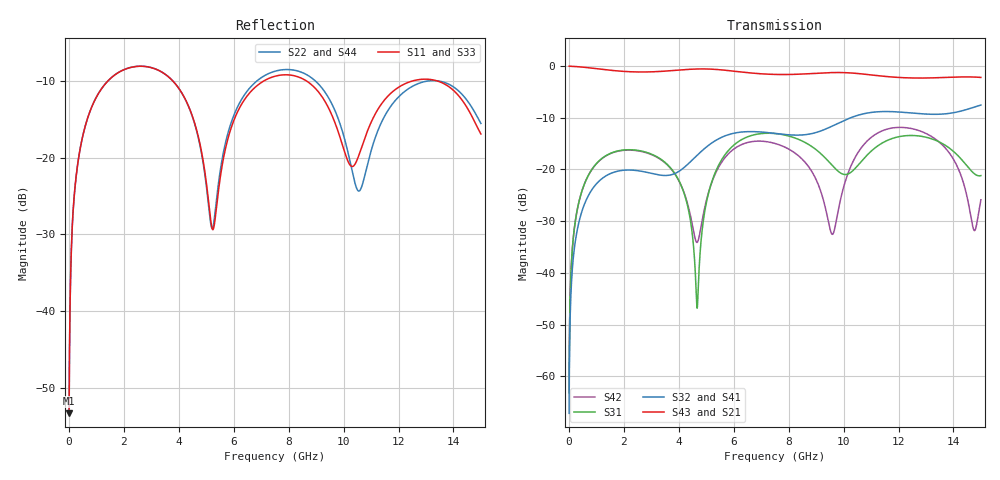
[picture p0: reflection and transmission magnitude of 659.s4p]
! Created with skrf 1.8.0 (http://scikit-rf.org).
# GHz S RI R 50.0
!freq ReS11 ImS11 ReS12 ImS12 ReS13 ImS13
! ReS14 ImS14
! ReS21 ImS21 ReS22 ImS22 ReS23 ImS23
! ReS24 ImS24
! ReS31 ImS31 ReS32 ImS32 ReS33 ImS33
! ReS34 ImS34
! ReS41 ImS41 ReS42 ImS42 ReS43 ImS43
! ReS44 ImS44
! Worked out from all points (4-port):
!   2499 points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, 5 MHz to 15 GHz, reference 50 ohm
!   strongest paths, dB at 5 MHz, 3.476 GHz, 7.19 GHz, 11.1 GHz, 15 GHz:
!     S43: 0.0, -1.0, -1.6, -1.8, -2.2
!     S21: 0.0, -1.0, -1.6, -1.8, -2.2
!     S32: -67.2, -21.2, -12.8, -8.9, -7.5
!     S41: -67.2, -21.2, -12.9, -8.9, -7.5
!     S31: -63.2, -18.5, -13.0, -16.0, -21.2
!     S42: -63.2, -18.6, -14.6, -13.4, -25.9
!   lowest |S11| = -53.3 dB at 5 MHz (marker M1), VSWR 1.00, Z = 50.2 + j0.131 ohm
!   |S11| at or under -10 dB: 3.778 GHz to 7.101 GHz (3.324 GHz wide, 61.1 % of centre); 8.643 GHz to 12.52 GHz (3.881 GHz wide, 36.7 % of centre); 13.4 GHz to end of sweep (the widest 3 of 4)
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0.005  0.00172 0.00131  0.9982 -0.00334  8.67e-05 0.000686  -8.42e-05 -0.00043
       0.9982 -0.00334  0.00172 0.00131  -8.42e-05 -0.00043  8.67e-05 0.000686
       8.67e-05 0.000686  -8.42e-05 -0.00043  0.00172 0.00131  0.9982 -0.00334
       -8.42e-05 -0.00043  8.67e-05 0.000686  0.9982 -0.00334  0.00172 0.00131
0.3126303  0.026 0.0855  0.9644 -0.2077  0.0122 0.0405  -0.01 -0.025
           0.9644 -0.2077  0.026 0.0855  -0.0101 -0.025  0.012 0.0405
           0.0122 0.0405  -0.0101 -0.025  0.026 0.0855  0.9644 -0.2077
           -0.01 -0.025  0.012 0.0405  0.9644 -0.2077  0.026 0.0855
1.569404  0.2878 0.1709  0.5092 -0.7519  0.1349 0.0541  -0.0926 0.000298
          0.5092 -0.7519  0.2886 0.1703  -0.0927 0.000373  0.1328 0.0572
          0.1349 0.0541  -0.0927 0.000373  0.2877 0.1709  0.5092 -0.7519
          -0.0926 0.000298  0.1328 0.0572  0.5092 -0.7519  0.2885 0.1703
4.664444  0.0755 -0.1266  -0.8553 -0.3834  -0.00444 -0.00102  -0.0527 0.1264
          -0.8553 -0.3834  0.0742 -0.1249  -0.0518 0.1268  -0.0189 -0.00569
          -0.00444 -0.00102  -0.0518 0.1268  0.0758 -0.1252  -0.8555 -0.3833
          -0.0527 0.1264  -0.0189 -0.00569  -0.8555 -0.3833  0.0729 -0.1242
8.059608  0.3444 -0.0189  -0.016 0.8296  0.1579 -0.1361  0.206 -0.0625
          -0.016 0.8296  0.371 -0.0476  0.206 -0.0648  0.1524 -0.0243
          0.1579 -0.1361  0.206 -0.0648  0.3434 -0.0179  -0.0171 0.8299
          0.206 -0.0625  0.1524 -0.0243  -0.0171 0.8299  0.3706 -0.0471
10.8045  0.1177 0.0737  0.8312 -0.049  -0.00141 0.1332  -0.0384 -0.3478
         0.8312 -0.049  0.0737 0.0328  -0.0432 -0.3464  0.1016 0.1512
         -0.00141 0.1332  -0.0432 -0.3464  0.1224 0.0742  0.8312 -0.0467
         -0.0384 -0.3478  0.1016 0.1512  0.8312 -0.0467  0.0692 0.0358
15  0.134 -0.0485  -0.6106 -0.4795  -0.0869 -0.00758  -0.2593 0.3305
    -0.6106 -0.4795  0.1436 -0.085  -0.254 0.3346  -0.0329 0.0388
    -0.0869 -0.00758  -0.254 0.3346  0.1306 -0.0479  -0.6072 -0.485
    -0.2593 0.3305  -0.0329 0.0388  -0.6072 -0.485  0.1449 -0.0786
